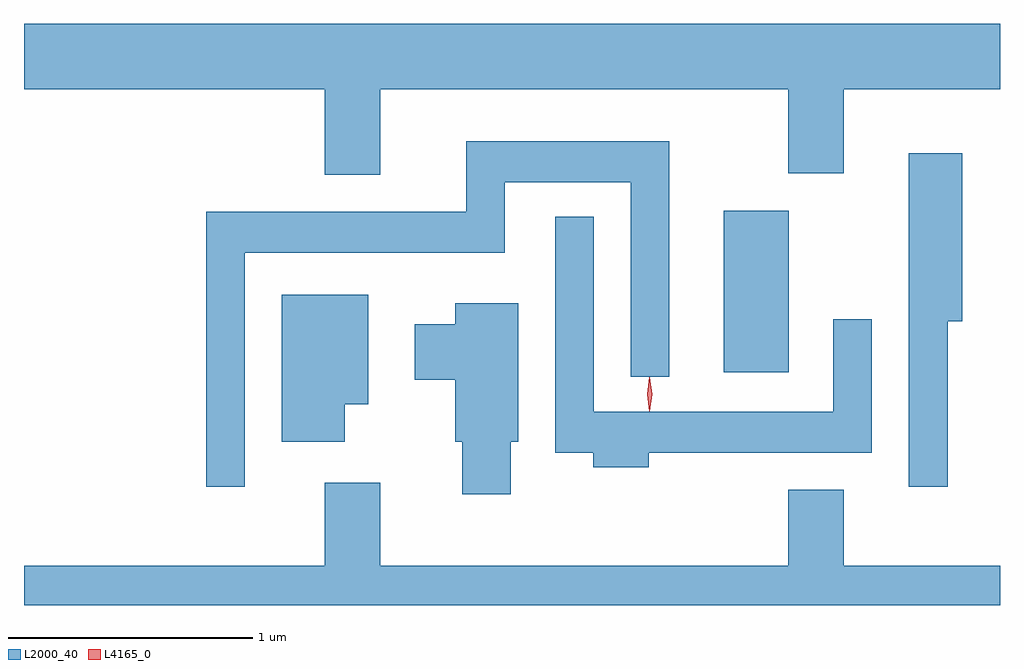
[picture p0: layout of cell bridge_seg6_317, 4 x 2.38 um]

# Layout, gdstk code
import gdstk
lib = gdstk.Library(unit=1e-6, precision=1e-09)
def R(c, l, rs):  # rectangles x0, y0, x1, y1
    for r in rs: c.add(gdstk.rectangle(r[:2], r[2:], *l))
def P(c, l, *ps):  # polygons
    for p in ps: c.add(gdstk.Polygon(p, *l))
L2000_40 = (2000, 40)
L4165_0 = (4165, 0)

bridge_seg6_317 = lib.new_cell('bridge_seg6_317')
R(bridge_seg6_317, L2000_40, [(1320.446,1531.116,1320.714,1531.779)])
P(bridge_seg6_317, L2000_40, [(1319.039,1532.276),(1320.711,1532.276),(1320.711,1531.931),(1320.939,1531.931),(1320.939,1532.276),(1321.579,1532.276),(1321.579,1532.544),(1317.579,1532.544),(1317.579,1532.276),(1318.811,1532.276),(1318.811,1531.926),(1319.039,1531.926)],
  [(1318.484,1531.606),(1319.549,1531.606),(1319.549,1531.896),(1320.066,1531.896),(1320.066,1531.098),(1320.224,1531.098),(1320.224,1532.064),(1319.391,1532.064),(1319.391,1531.774),(1318.326,1531.774),(1318.326,1530.648),(1318.484,1530.648)],
  [(1321.364,1531.326),(1321.424,1531.326),(1321.424,1532.014),(1321.206,1532.014),(1321.206,1530.648),(1321.364,1530.648)],
  [(1320.139,1530.786),(1321.054,1530.786),(1321.054,1531.333),(1320.896,1531.333),(1320.896,1530.954),(1319.914,1530.954),(1319.914,1531.753),(1319.756,1531.753),(1319.756,1530.786),(1319.911,1530.786),(1319.911,1530.726),(1320.139,1530.726)],
  [(1318.894,1530.986),(1318.989,1530.986),(1318.989,1531.434),(1318.636,1531.434),(1318.636,1530.831),(1318.894,1530.831)],
  [(1319.574,1530.831),(1319.604,1530.831),(1319.604,1531.399),(1319.346,1531.399),(1319.346,1531.314),(1319.181,1531.314),(1319.181,1531.086),(1319.346,1531.086),(1319.346,1530.831),(1319.376,1530.831),(1319.376,1530.616),(1319.574,1530.616)],
  [(1321.579,1530.324),(1320.939,1530.324),(1320.939,1530.634),(1320.711,1530.634),(1320.711,1530.324),(1319.039,1530.324),(1319.039,1530.664),(1318.811,1530.664),(1318.811,1530.324),(1317.579,1530.324),(1317.579,1530.162),(1321.579,1530.162)])
P(bridge_seg6_317, L4165_0, [(1320.142,1530.957),(1320.133,1531.027),(1320.142,1531.096),(1320.143,1531.096),(1320.143,1531.096),(1320.153,1531.027),(1320.143,1530.957),(1320.143,1530.957)])

lib.write_gds('bridge_seg6_317.gds')
